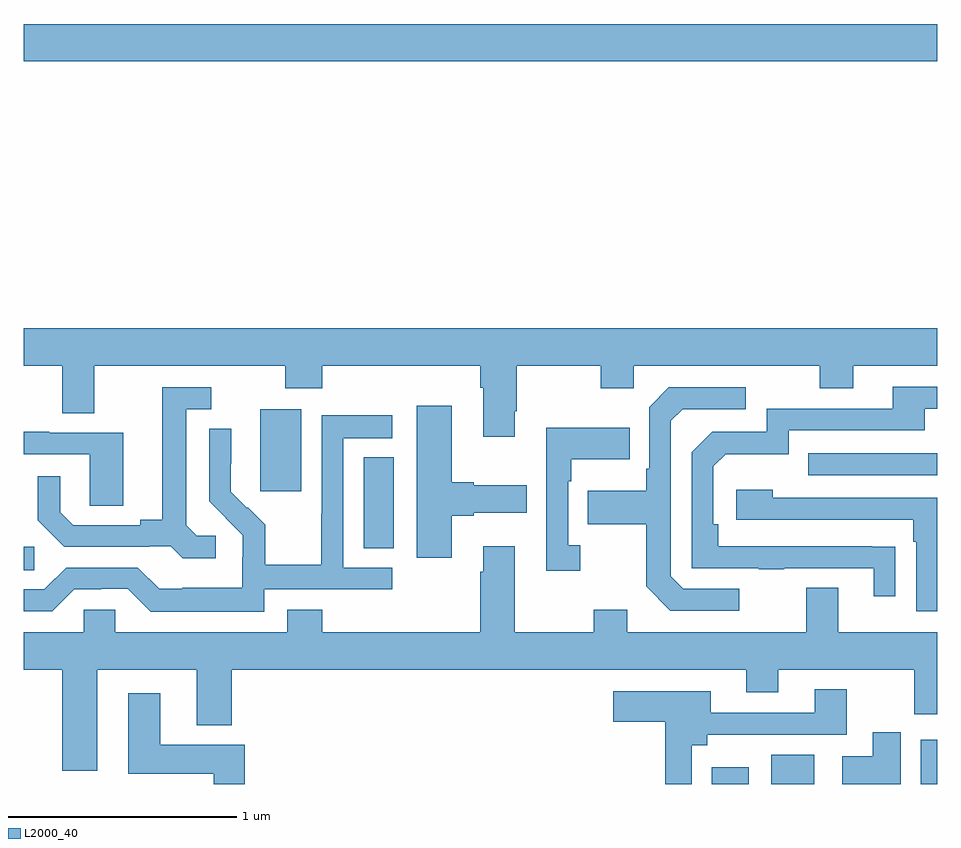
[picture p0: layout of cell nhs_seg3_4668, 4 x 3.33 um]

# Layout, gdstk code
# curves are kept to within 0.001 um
import gdstk
lib = gdstk.Library(unit=1e-6, precision=1e-09)
def R(c, l, rs):  # rectangles x0, y0, x1, y1
    for r in rs: c.add(gdstk.rectangle(r[:2], r[2:], *l))
def P(c, l, *ps):  # polygons
    for p in ps: c.add(gdstk.Polygon(p, *l))
L2000_40 = (2000, 40)

nhs_seg3_4668 = lib.new_cell('nhs_seg3_4668')
R(nhs_seg3_4668, L2000_40, [(364.013,716.4,364.174,716.473), (364.274,716.4,364.462,716.527), (364.928,716.4,365,716.593), (361,717.337,361.045,717.438), (362.489,717.433,362.62,717.83), (362.036,717.681,362.215,718.042), (364.435,717.753,365,717.849), (361,719.564,365,719.728)])
P(nhs_seg3_4668, L2000_40, [(363.151,718.033),(363.159,718.033),(363.159,718.232),(363.526,718.232),(363.526,718.133),(363.672,718.133),(363.672,718.232),(364.486,718.232),(364.486,718.133),(364.633,718.133),(364.633,718.232),(365,718.232),(365,718.396),(361,718.396),(361,718.232),(361.169,718.232),(361.169,718.024),(361.309,718.024),(361.309,718.232),(362.146,718.232),(362.146,718.133),(362.306,718.133),(362.306,718.232),(362.999,718.232),(362.999,718.136),(363.011,718.136),(363.011,717.921),(363.151,717.921)],
  [(364.817,717.44),(364.04,717.441),(364.04,717.538),(364.02,717.538),(364.02,717.792),(364.073,717.845),(364.35,717.845),(364.35,717.948),(364.945,717.948),(364.945,718.044),(365,718.044),(365,718.14),(364.805,718.14),(364.805,718.044),(364.254,718.044),(364.254,717.942),(364.014,717.942),(363.924,717.852),(363.924,717.345),(364.219,717.345),(364.219,717.34),(364.331,717.34),(364.331,717.345),(364.721,717.345),(364.721,717.222),(364.817,717.222)],
  [(361.84,717.486),(361.758,717.486),(361.711,717.533),(361.711,718.041),(361.822,718.041),(361.822,718.137),(361.607,718.137),(361.607,717.557),(361.511,717.557),(361.511,717.534),(361.216,717.534),(361.159,717.591),(361.159,717.748),(361.062,717.748),(361.062,717.554),(361.178,717.438),(361.55,717.438),(361.55,717.441),(361.644,717.441),(361.696,717.389),(361.84,717.389)],
  [(364.132,717.255),(363.888,717.255),(363.834,717.309),(363.834,717.99),(363.885,718.041),(364.162,718.041),(364.162,718.137),(363.825,718.137),(363.738,718.05),(363.738,717.781),(363.726,717.781),(363.726,717.685),(363.469,717.685),(363.469,717.538),(363.726,717.538),(363.726,717.265),(363.831,717.159),(364.132,717.159)],
  [(362.875,717.575),(362.971,717.575),(362.971,717.587),(363.202,717.587),(363.202,717.709),(362.971,717.709),(362.971,717.722),(362.875,717.722),(362.875,718.057),(362.72,718.057),(362.72,717.39),(362.875,717.39)],
  [(362.052,717.252),(362.614,717.252),(362.614,717.348),(362.4,717.348),(362.4,717.915),(362.614,717.915),(362.614,718.014),(362.304,718.014),(362.304,717.584),(362.302,717.584),(362.302,717.361),(362.057,717.361),(362.057,717.535),(361.98,717.612),(361.977,717.609),(361.907,717.68),(361.908,717.956),(361.812,717.956),(361.812,717.638),(361.958,717.49),(361.958,717.393),(361.956,717.393),(361.956,717.259),(361.693,717.259),(361.693,717.255),(361.593,717.255),(361.5,717.348),(361.185,717.348),(361.089,717.252),(361,717.252),(361,717.156),(361.125,717.156),(361.221,717.252),(361.34,717.252),(361.34,717.255),(361.455,717.255),(361.555,717.155),(362.052,717.155)],
  [(363.436,717.446),(363.384,717.446),(363.384,717.725),(363.397,717.725),(363.397,717.821),(363.653,717.821),(363.653,717.961),(363.288,717.961),(363.288,717.333),(363.436,717.333)],
  [(361.435,717.939),(361.111,717.939),(361.111,717.943),(361,717.943),(361,717.843),(361.29,717.843),(361.29,717.619),(361.435,717.619)],
  [(365,717.654),(364.28,717.654),(364.28,717.688),(364.119,717.688),(364.119,717.558),(364.895,717.558),(364.895,717.461),(364.908,717.461),(364.908,717.156),(365,717.156)],
  [(361.321,716.9),(361.757,716.9),(361.757,716.657),(361.91,716.657),(361.91,716.9),(364.163,716.9),(364.163,716.801),(364.303,716.801),(364.303,716.9),(364.9,716.9),(364.9,716.706),(365,716.706),(365,717.064),(364.567,717.064),(364.567,717.259),(364.427,717.259),(364.427,717.064),(363.643,717.064),(363.643,717.163),(363.496,717.163),(363.496,717.064),(363.151,717.064),(363.151,717.442),(363.011,717.442),(363.011,717.329),(362.999,717.329),(362.999,717.064),(362.306,717.064),(362.306,717.163),(362.153,717.163),(362.153,717.064),(361.401,717.064),(361.401,717.162),(361.263,717.162),(361.263,717.064),(361,717.064),(361,716.9),(361.169,716.9),(361.169,716.459),(361.321,716.459)],
  [(363.924,716.57),(363.994,716.57),(363.994,716.616),(364.603,716.616),(364.603,716.815),(364.463,716.815),(364.463,716.712),(364.009,716.712),(364.009,716.806),(363.582,716.806),(363.582,716.672),(363.808,716.672),(363.808,716.4),(363.924,716.4)],
  [(361.967,716.572),(361.597,716.572),(361.597,716.797),(361.457,716.797),(361.457,716.444),(361.832,716.444),(361.832,716.4),(361.967,716.4)],
  [(364.84,716.626),(364.718,716.626),(364.718,716.521),(364.583,716.521),(364.583,716.4),(364.84,716.4)])

lib.write_gds('nhs_seg3_4668.gds')
